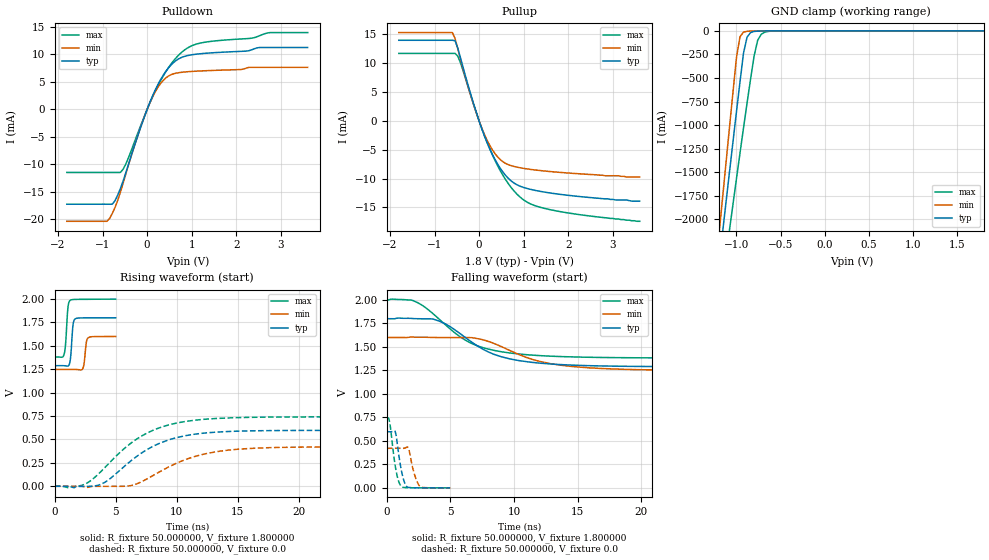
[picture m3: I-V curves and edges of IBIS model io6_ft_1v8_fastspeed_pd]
| [Disclaimer]  This information is for modeling purpose only and is
| not guaranted. The information is subject to change without
| notice.
| From stm32g0B0_0B1_0C1_lqfp32noio2.ibs, stm32g0_467_lqfp32noio2, STMicroelectronics
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|   Model io6_ft_1v8_fastspeed_pd
[Model]  io6_ft_1v8_fastspeed_pd
Model_type I/O
Polarity   Non-Inverting
Enable   Active-Low
Vinl =   0.540000V
Vinh =   1.260000V
Vmeas =  0.900000V
Cref =   50.000000pF
Rref =   100.000000M
Vref =   0.0V
C_comp   1.277600pF   1.236700pF   1.315100pF
[Temperature Range]   25.000000   -40.000000   0.125000k
[Pullup Reference]   1.800000V   1.600000V   2.000000V
[Pulldown Reference]   0.0V   0.0V   0.0V
[POWER Clamp Reference]   1.800000V   1.600000V   2.000000V
[GND Clamp Reference]   0.0V   0.0V   0.0V
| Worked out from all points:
|   slope of the pulldown table from 0 to 0.27 V, typ, clamps not added: 54.7 ohm
|   slope of the pullup table from 0 to 0.27 V, typ, clamps not added: 50.6 ohm
|   GND clamp passes 1 mA (typ) near -0.66 V on its own axis
|   rising waveform, R_fixture 50.000000, V_fixture 1.800000: 20-80 % time 165ps typ, 169ps min, 180ps max; typ from 1.29 V to 1.8 V
|   rising waveform, R_fixture 50.000000, V_fixture 0.0: 20-80 % time 4.08ns typ, 4.39ns min, 4.26ns max; typ from 0 V to 0.597 V
|   falling waveform, R_fixture 50.000000, V_fixture 1.800000: 20-80 % time 3.95ns typ, 4.46ns min, 3.82ns max; typ from 1.8 V to 1.29 V
|   falling waveform, R_fixture 50.000000, V_fixture 0.0: 20-80 % time 436ps typ, 477ps min, 449ps max; typ from 0.597 V to 0 V
[Pulldown]
|Voltage   I(typ)   I(min)   I(max)
-1.8V     -17.22mA   -20.33mA   -11.45mA
-900mV    -17.22mA   -20.33mA   -11.45mA
-720mV    -16.58mA   -17.82mA   -11.45mA
-600mV    -14.41mA   -15.08mA   -11.45mA
-480mV    -11.58mA   -11.79mA   -9.954mA
0V        10fA       0A         100fA
240mV     4.49mA     3.999mA    4.291mA
480mV     7.563mA    6.085mA    7.612mA
780mV     9.487mA    6.76mA     10.43mA
1.14V     10.08mA    6.976mA    11.96mA
2.76V     11.26mA    7.652mA    13.98mA
3.6V      11.26mA    7.652mA    13.98mA
[Pullup]
|Voltage   I(typ)   I(min)   I(max)
-1.8V     14mA       15.33mA    11.72mA
-600mV    14mA       15.33mA    11.72mA
-540mV    13.93mA    14.32mA    11.72mA
-420mV    11.01mA    10.78mA    10.14mA
-180mV    4.421mA    4.232mA    4.225mA
60mV      -1.349mA   -1.244mA   -1.314mA
300mV     -5.831mA   -5.038mA   -5.917mA
600mV     -9.499mA   -7.385mA   -10.25mA
960mV     -11.43mA   -8.172mA   -13.47mA
1.32V     -12.13mA   -8.557mA   -14.86mA
2.16V     -13.03mA   -9.116mA   -16.14mA
3.6V      -13.9mA    -9.7mA     -17.4mA
[GND_clamp]
|Voltage   I(typ)   I(min)   I(max)
-1.8V     -7.471A    -7.973A    -7.298A
-1.2V     -2.489A    -2.18A     -2.954A
-1.16V    -2.16A     -1.797A    -2.674A
-1.08V    -1.505A    -1.034A    -2.118A
-1V       -858mA     -283.1mA   -1.568A
-960mV    -540.4mA   -62.15mA   -1.296A
-920mV    -234.4mA   -13.76mA   -1.028A
-880mV    -66.3mA    -4.868mA   -765.3mA
-800mV    -6.518mA   -2.068mA   -266mA
-760mV    -3.087mA   -1.462mA   -100.4mA
-680mV    -1.228mA   -569.1uA   -14.21mA
1.8V      47.47uA    34.04uA    59.57uA
[POWER_clamp]
|Voltage   I(typ)   I(min)   I(max)
-1.8V     0A         0A         0A
0V        0A         0A         0A
[Ramp]
| variable   typ   min   max
dV/dt_r  0.35813/4.07174n   0.25245/4.38021n   0.44110/4.25256n
dV/dt_f  0.30642/3.93587n   0.21030/4.44000n   0.37044/3.81917n
R_load = 50.000000
[Rising Waveform]
R_fixture= 50.000000
V_fixture= 1.800000
V_fixture_min= 1.600000
V_fixture_max= 2.000000
|time   V(typ)   V(min)   V(max)
0s        1.288V     1.248V     1.381V
770.8ps   1.287V     1.248V     1.411V
880.9ps   1.285V     1.248V     1.513V
1.081ns   1.284V     1.248V     1.91V
1.241ns   1.327V     1.248V     1.982V
1.491ns   1.72V      1.248V     1.994V
1.662ns   1.786V     1.248V     1.995V
2.302ns   1.798V     1.259V     1.996V
2.713ns   1.798V     1.582V     1.996V
4.985ns   1.799V     1.599V     1.998V
[Rising Waveform]
R_fixture= 50.000000
V_fixture= 0.0
V_fixture_min= 0.0
V_fixture_max= 0.0
|time   V(typ)   V(min)   V(max)
0s        -1.303uV   809.4nV    108.6nV
1.141ns   -1.02mV    -3.84uV    -16.89mV
2.222ns   -948.5uV   -326.3uV   10.6mV
3.664ns   15.82mV    -604.3uV   142.4mV
6.787ns   326.1mV    29.64mV    510.2mV
8.649ns   462.9mV    159mV      627.8mV
10.21ns   526.4mV    259.5mV    680.8mV
12.31ns   568.6mV    346.3mV    715.8mV
15.08ns   588.6mV    396.5mV    733.1mV
29.91ns   597.1mV    420.8mV    741.3mV
[Falling Waveform]
R_fixture= 50.000000
V_fixture= 1.800000
V_fixture_min= 1.600000
V_fixture_max= 2.000000
|time   V(typ)   V(min)   V(max)
0s        1.799V     1.599V     1.998V
2.042ns   1.801V     1.604V     1.993V
3.664ns   1.794V     1.6V       1.849V
4.745ns   1.733V     1.598V     1.717V
6.186ns   1.598V     1.598V     1.57V
7.568ns   1.474V     1.574V     1.491V
9.009ns   1.394V     1.502V     1.447V
11.47ns   1.334V     1.365V     1.412V
14.53ns   1.306V     1.291V     1.393V
29.91ns   1.288V     1.248V     1.381V
[Falling Waveform]
R_fixture= 50.000000
V_fixture= 0.0
V_fixture_min= 0.0
V_fixture_max= 0.0
|time   V(typ)   V(min)   V(max)
0s        597.1mV    420.8mV    741.3mV
230.2ps   596.6mV    420.9mV    693.5mV
660.7ps   597.3mV    421mV      237.1mV
870.9ps   423.6mV    421mV      96.77mV
1.101ns   217mV      420.5mV    22.46mV
1.381ns   61.14mV    422mV      3.655mV
1.682ns   5.993mV    425.9mV    1.469mV
2.192ns   926.9uV    135.8mV    801.5uV
2.653ns   283.7uV    9.933mV    577.3uV
4.985ns   -1.303uV   809.4nV    108.6nV
